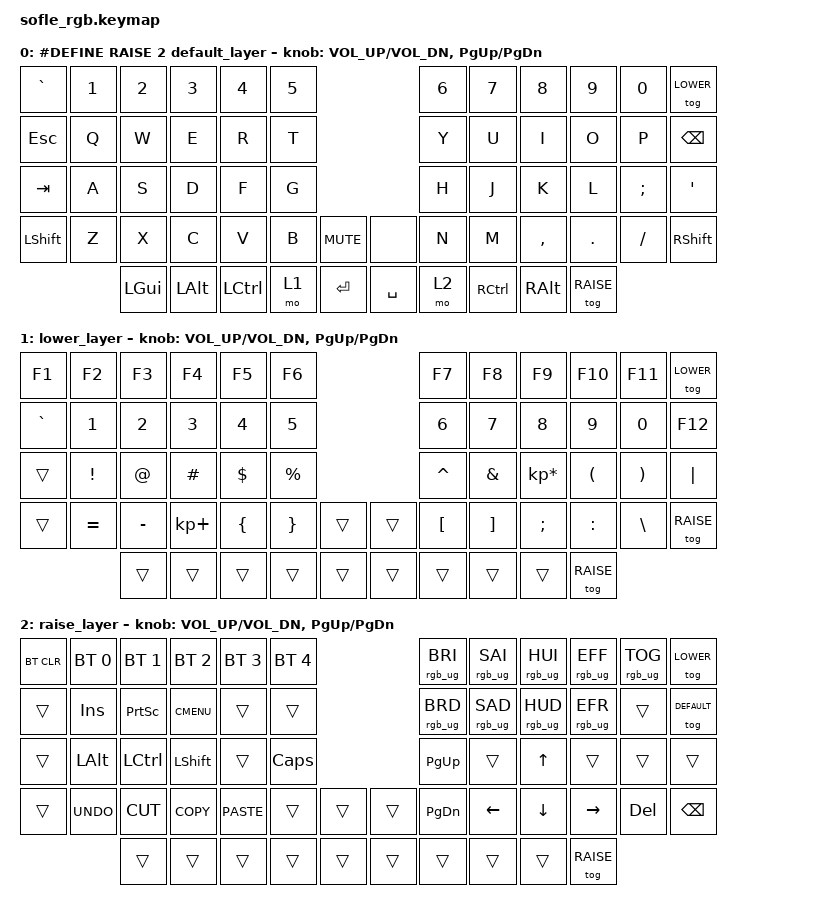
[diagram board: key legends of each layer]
/*
 * Copyright (c) 2020 The ZMK Contributors
 *
 * SPDX-License-Identifier: MIT
 */

#include <behaviors.dtsi>
#include <dt-bindings/zmk/keys.h>
#include <dt-bindings/zmk/bt.h>
#include <dt-bindings/zmk/rgb.h>

/ {
    keymap {
        compatible = "zmk,keymap";
        
        #define DEFAULT 0
        #define LOWER   1
        #DEFINE RAISE   2

        default_layer {
// ------------------------------------------------------------------------------------------------------------
// |  `    |  1  |  2  |  3   |  4   |  5   |                   |  6   |  7    |  8    |  9   |   0   | LOWER |
// |  ESC  |  Q  |  W  |  E   |  R   |  T   |                   |  Y   |  U    |  I    |  O   |   P   | BKSPC |
// |  TAB  |  A  |  S  |  D   |  F   |  G   |                   |  H   |  J    |  K    |  L   |   ;   |   '   |
// | SHIFT |  Z  |  X  |  C   |  V   |  B   |  MUTE  |  |       |  N   |  M    |  ,    |  .   |   /   | SHIFT |
//               | GUI | ALT  | CTRL | LOWER|  ENTER |  | SPACE | RAISE| CTRL  | ALT   | RAISE  |
            bindings = <
&kp GRAVE &kp N1 &kp N2   &kp N3   &kp N4    &kp N5                      &kp N6 &kp N7    &kp N8    &kp N9   &kp N0   &tog LOWER
&kp ESC   &kp Q  &kp W    &kp E    &kp R     &kp T                       &kp Y  &kp U     &kp I     &kp O    &kp P    &kp BSPC
&kp TAB   &kp A  &kp S    &kp D    &kp F     &kp G                       &kp H  &kp J     &kp K     &kp L    &kp SEMI &kp SQT
&kp LSHFT &kp Z  &kp X    &kp C    &kp V     &kp B  &kp C_MUTE &none     &kp N  &kp M     &kp COMMA &kp DOT  &kp FSLH &kp RSHFT
                 &kp LGUI &kp LALT &kp LCTRL &mo 1  &kp RET    &kp SPACE &mo 2  &kp RCTRL &kp RALT  &tog RAISE
            >;

            sensor-bindings = <&inc_dec_kp C_VOL_UP C_VOL_DN &inc_dec_kp PG_UP PG_DN>;
        };

        lower_layer {
// TODO: Some binds are waiting for shifted keycode support.
// ------------------------------------------------------------------------------------------------------------
// |  F1   |  F2 |  F3 |  F4  |  F5  |  F6  |                   |  F7  |  F8   |  F9   | F10  |  F11  | TOG LWR |
// | `     |   1 |   2 |   3  |   4  |   5  |                   |   6  |   7   |   8   |   9  |    0  |    F12  |
// |       |  !  |  @  |  #   |  $   |  %   |                   |  ^   |  &    |  *    |  (   |   )   |   |     |
// |       |  =  |  -  |  +   |  {   |  }   |        |  |       |  [   |  ]    |  ;    |  :   |   \   | TOG RSE |
//               |     |      |      |      |        |  |       |      |       |       |  TOG Raise  |
            bindings = <
&kp F1    &kp F2    &kp F3    &kp F4      &kp F5    &kp F6                    &kp F7    &kp F8   &kp F9          &kp F10    &kp F11   &tog LOWER
&kp GRAVE &kp N1    &kp N2    &kp N3      &kp N4    &kp N5                    &kp N6    &kp N7   &kp N8          &kp N9     &kp N0    &kp F12
&trans    &kp EXCL  &kp AT    &kp HASH    &kp DLLR  &kp PRCNT                 &kp CARET &kp AMPS &kp KP_MULTIPLY &kp LPAR   &kp RPAR  &kp PIPE
&trans    &kp EQUAL &kp MINUS &kp KP_PLUS &kp LBRC  &kp RBRC  &trans   &trans &kp LBKT  &kp RBKT &kp SEMI        &kp COLON &kp BSLH  &tog RAISE
                    &trans    &trans      &trans    &trans    &trans   &trans &trans    &trans   &trans          &tog RAISE
            >;

            sensor-bindings = <&inc_dec_kp C_VOL_UP C_VOL_DN &inc_dec_kp PG_UP PG_DN>;
        };

        raise_layer {
// ------------------------------------------------------------------------------------------------------------
// |BTCLR| BT1  | BT2  |  BT3  |  BT4  |  BT5 |                | RGB BR+ | RGB SAT+ | RGB HUE+ | RGB ANI+ | RGB TOG | TOG LWR   |
// |     | INS  | PSCR | GUI   |       |      |                | RGB BR- | RGB SAT- | RGB HUE- | RGB ANI- |         | TOG DEF   |
// |     | ALT  | CTRL | SHIFT |       | CAPS |                | PGUP    |          |    ^     |          |         |           |
// |     | UNDO | CUT  | COPY  | PASTE |      |      |  |      | PGDN    |     <-   |    v     |    ->    |  DEL    | BKSPC |
//              |      |       |       |      |      |  |      |      |      |       | TOG RSE  |
            bindings = <
&bt BT_CLR &bt BT_SEL 0 &bt BT_SEL 1 &bt BT_SEL 2 &bt BT_SEL 3 &bt BT_SEL 4             &rgb_ug RGB_BRI  &rgb_ug RGB_SAI  &rgb_ug RGB_HUI  &rgb_ug RGB_EFF  &rgb_ug RGB_TOG  &tog LOWER
&trans     &kp INS      &kp PSCRN    &kp K_CMENU  &trans       &trans                   &rgb_ug RGB_BRD  &rgb_ug RGB_SAD  &rgb_ug RGB_HUD  &rgb_ug RGB_EFR  &trans           &tog DEFAULT
&trans     &kp LALT     &kp LCTRL    &kp LSHFT    &trans       &kp CLCK                 &kp PG_UP        &trans           &kp UP           &trans           &trans           &trans
&trans     &kp K_UNDO   &kp K_CUT    &kp K_COPY   &kp K_PASTE  &trans  &trans   &trans  &kp PG_DN        &kp LEFT         &kp DOWN         &kp RIGHT        &kp DEL          &kp BSPC
                        &trans       &trans       &trans       &trans  &trans   &trans  &trans    &trans    &trans   &tog RAISE
            >;

            sensor-bindings = <&inc_dec_kp C_VOL_UP C_VOL_DN &inc_dec_kp PG_UP PG_DN>;
        };
             
};
